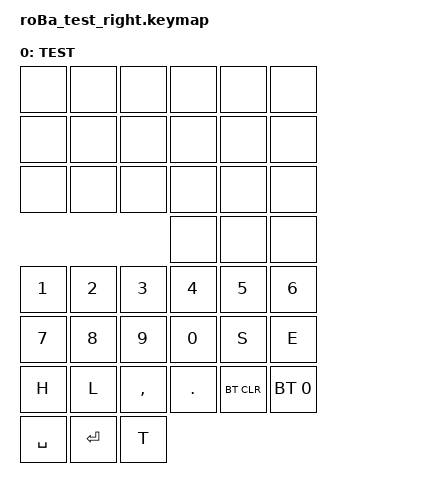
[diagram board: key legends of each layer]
/*
 * 右手のみで完結する導通テスト用キーマップ
 * roBa_R（右側）単体で動作
 */

#include <behaviors.dtsi>
#include <dt-bindings/zmk/keys.h>
#include <dt-bindings/zmk/bt.h>

/ {
    keymap {
        compatible = "zmk,keymap";

        test_layer {
            label = "TEST";
            bindings = <
// 左側（ダミー）
// ╭──────────────┬──────────────┬──────────────┬──────────────┬──────────────┬──────────────╮
     &none          &none          &none          &none          &none          &none
// ├──────────────┼──────────────┼──────────────┼──────────────┼──────────────┼──────────────┤
     &none          &none          &none          &none          &none          &none
// ├──────────────┼──────────────┼──────────────┼──────────────┼──────────────┼──────────────┤
     &none          &none          &none          &none          &none          &none
// ╰──────────────┴──────────────┴──────────────┼──────────────┼──────────────┼──────────────┤
                                                   &none          &none          &none

// 右側（テスト用キー配置）
// ╭──────────────┬──────────────┬──────────────┬──────────────┬──────────────┬──────────────╮
     &kp N1         &kp N2         &kp N3         &kp N4         &kp N5         &kp N6
// ├──────────────┼──────────────┼──────────────┼──────────────┼──────────────┼──────────────┤
     &kp N7         &kp N8         &kp N9         &kp N0         &kp S          &kp E
// ├──────────────┼──────────────┼──────────────┼──────────────┼──────────────┼──────────────┤
     &kp H          &kp L          &kp COMMA      &kp DOT        &bt BT_CLR     &bt BT_SEL 0
// ├──────────────┼──────────────┼──────────────┼──────────────┴──────────────┴──────────────╯
     &kp SPACE      &kp ENTER      &kp T
// ╰──────────────┴──────────────┴──────────────╯
            >;
        };
    };
};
